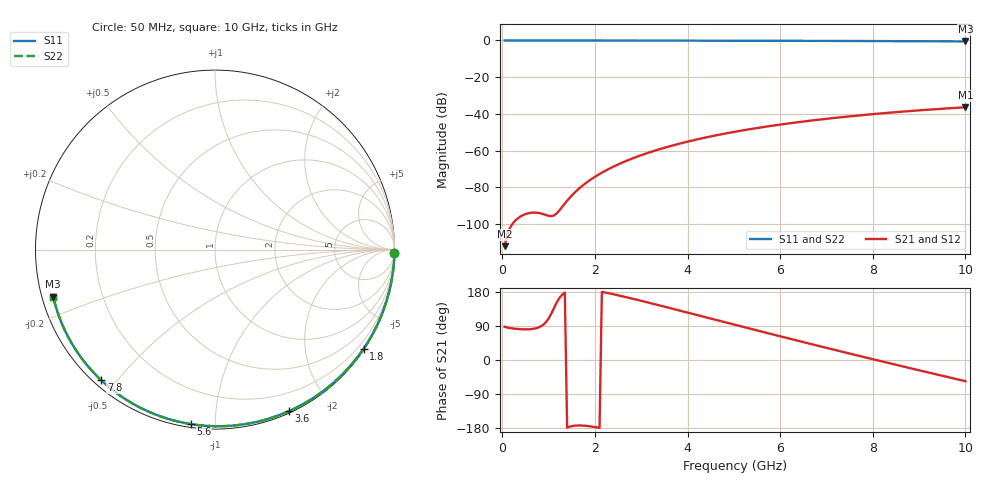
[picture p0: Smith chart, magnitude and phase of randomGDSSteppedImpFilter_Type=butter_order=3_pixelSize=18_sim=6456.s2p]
! freq	dB(S11)	phase(S11)	dB(S12)	phase(S12)
!  dB(S21)	phase(S21)	dB(S22)	phase(S22)
!S-par simulation data
#  GHz  S  DB  R 50
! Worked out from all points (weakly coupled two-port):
!   200 points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, 50 MHz to 10 GHz, reference 50 ohm
!   highest |S21| = -36.41 dB at 10 GHz (marker M1); lowest = -112.1 dB at 50 MHz (marker M2)
!   lowest |S11| = -0.5 dB at 10 GHz (marker M3), VSWR 31.87, Z = 1.6 - j7.14 ohm
!   |S11| at or under -10 dB: nowhere
!   |S22| runs from -0.5 to 0.0 dB; largest |S21 - S12| = 0
!   S11 on the Smith chart (normalised r, x): 50 MHz: open; 1.8 GHz: 0.03, -3.31; 3.6 GHz: 0.02, -1.56; 5.6 GHz: 0.02, -0.87; 7.8 GHz: 0.02, -0.46; 10 GHz: 0.03, -0.14
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0.05  -0.00 -1.0  -112.09 87.8  -112.09 87.8  -0.00 -1.0
0.45  -0.01 -8.5  -95.13 81.0  -95.13 81.0  -0.01 -8.5
0.85  -0.02 -16.1  -94.36 90.1  -94.36 90.1  -0.02 -16.1
1.65  -0.04 -30.9  -80.86 -172.8  -80.86 -172.8  -0.04 -30.9
1.7  -0.04 -31.8  -79.78 -172.9  -79.78 -172.9  -0.04 -31.8
1.75  -0.04 -32.7  -78.75 -173.2  -78.75 -173.2  -0.04 -32.7
1.8  -0.04 -33.6  -77.78 -173.7  -77.78 -173.7  -0.04 -33.6
2.1  -0.05 -39.1  -72.76 -179.0  -72.76 -179.0  -0.05 -39.1
2.3  -0.05 -42.7  -70.00 176.1  -70.00 176.1  -0.05 -42.7
2.5  -0.06 -46.2  -67.57 170.8  -67.57 170.8  -0.06 -46.2
2.9  -0.07 -53.3  -63.42 159.2  -63.42 159.2  -0.07 -53.3
3.4  -0.08 -62.0  -59.22 143.9  -59.22 143.9  -0.08 -62.0
3.6  -0.09 -65.4  -57.76 137.7  -57.76 137.7  -0.09 -65.4
4.3  -0.11 -77.1  -53.38 115.7  -53.38 115.7  -0.11 -77.1
5.05  -0.14 -89.2  -49.63 92.1  -49.63 92.1  -0.14 -89.2
5.6  -0.16 -97.9  -47.32 75.0  -47.32 75.0  -0.16 -97.9
6.15  -0.19 -106.3  -45.32 57.9  -45.32 57.9  -0.19 -106.3
6.7  -0.22 -114.7  -43.56 41.1  -43.56 41.1  -0.22 -114.7
7.8  -0.31 -131.0  -40.61 8.0  -40.61 8.0  -0.31 -131.0
8.35  -0.36 -139.1  -39.37 -8.2  -39.37 -8.2  -0.36 -139.1
9.2  -0.45 -151.7  -37.71 -33.0  -37.71 -33.0  -0.45 -151.7
10  -0.55 -163.7  -36.41 -55.9  -36.41 -55.9  -0.55 -163.7
